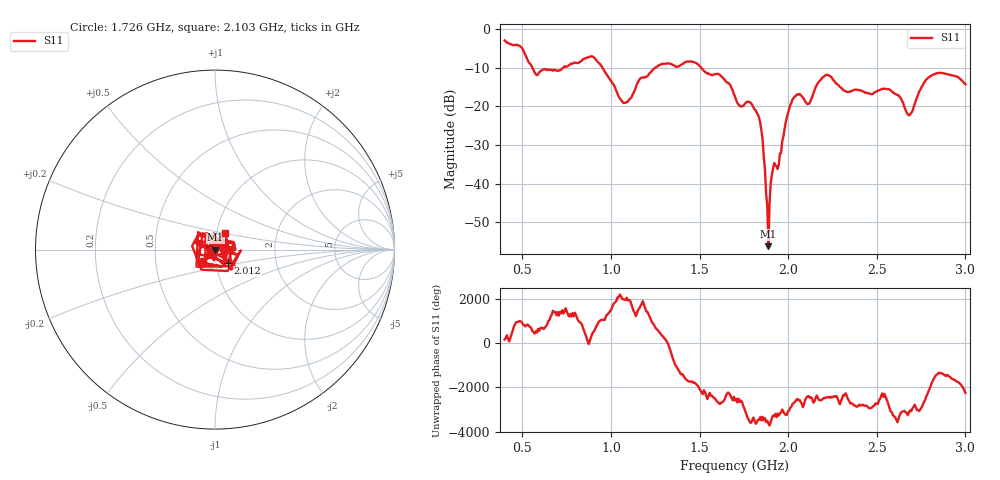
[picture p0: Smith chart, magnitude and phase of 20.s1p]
!Created with skrf (http://scikit-rf.org).
# Hz S RI R 50.0
!freq ReS11 ImS11
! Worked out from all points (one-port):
!   401 points, 400 MHz to 3 GHz, reference 50 ohm
!   lowest |S11| = -56.2 dB at 1.889 GHz (marker M1), VSWR 1.00, Z = 50.1 - j0.103 ohm
!   |S11| at or under -10 dB: 556.7 MHz to 729.4 MHz (172.7 MHz wide, 26.9 % of centre); 952.5 MHz to 1.249 GHz (296.4 MHz wide, 26.9 % of centre); 1.51 GHz to end of sweep
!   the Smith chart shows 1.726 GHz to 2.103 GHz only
!   S11 on the Smith chart (normalised r, x): 1.726 GHz: 0.86, -0.12; 2.012 GHz: 1.15, -0.17; 2.103 GHz: 1.10, +0.21
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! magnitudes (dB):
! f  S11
! 400 MHz  -2.9
! 491 MHz  -4.5
! 575.5 MHz  -11.6
! 725 MHz  -10.1
! 900.5 MHz  -7.2
! 1.05 GHz  -17.9
! 1.095 GHz  -18.8
! 1.271 GHz  -9.3
! 1.375 GHz  -9.6
! 1.609 GHz  -11.7
! 1.7 GHz  -17.4
! 1.726 GHz  -19.8
! 1.784 GHz  -18.9
! 1.83 GHz  -22.1
! 1.849 GHz  -26.4
! 1.875 GHz  -42.5
! 1.889 GHz  -56.2
! 1.915 GHz  -36.3
! 1.947 GHz  -35.2
! 2.012 GHz  -19.7
! 2.025 GHz  -18.1
! 2.103 GHz  -19.1
! 2.213 GHz  -11.9
! 2.35 GHz  -16.1
! 2.564 GHz  -15.5
! 2.675 GHz  -22.0
! 2.812 GHz  -11.9
! 3 GHz  -14.3
